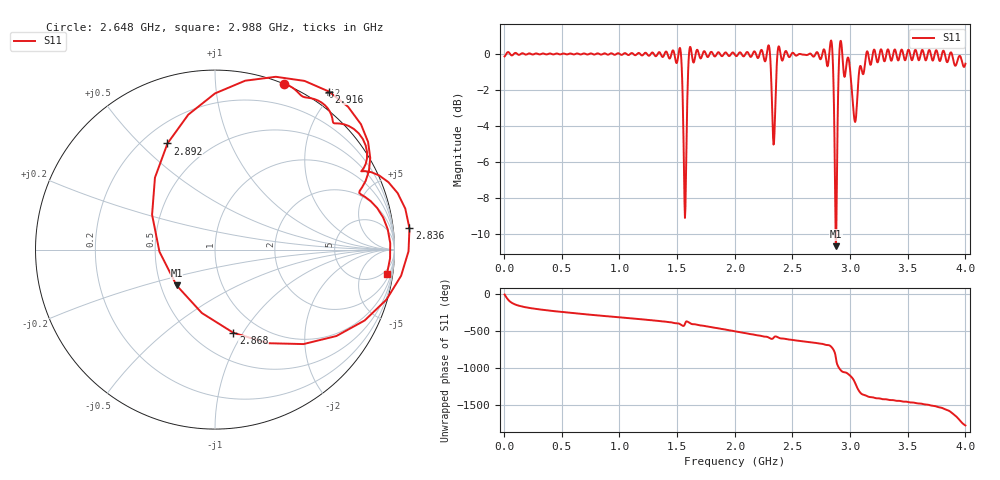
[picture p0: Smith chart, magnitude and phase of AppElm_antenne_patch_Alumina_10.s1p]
! TOUCHSTONE file generated by CST MICROWAVE STUDIO
! Date and time: Thu Jun  9 14:52:41 2022
! Project name: AppElm_antenne_patch_Alumina.cst
! Parameters = {L=30.5; W=41.8; e=0.035; h=1.6; lambda=0.190476; ls=90; w0=1.12; w1=0.373; ws=90; y0=16.8; y1=10}
! Header version: 2018
! Port assignment regex: !\s*Touchstone port\s*([0-9]+)\s*=\s*(CST MWS port|CST DS port)\s*([0-9]+|Zmin|Zmax)\s*\(\"(.*)\"\)(\s*mode\s*([0-9]+))?.*
! Touchstone port assignment:
! Touchstone port 1 = CST MWS port 1 ("")
# GHz S MA R 50
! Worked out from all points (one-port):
!   1000 points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, 4 MHz to 4 GHz, reference 50 ohm
!   lowest |S11| = -10.7 dB at 2.876 GHz (marker M1), VSWR 1.83, Z = 30.2 - j13.1 ohm
!   |S11| at or under -10 dB: 2.874519 GHz to 2.880317 GHz (5.798 MHz wide, 0.202 % of centre)
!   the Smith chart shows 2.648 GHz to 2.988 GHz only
!   S11 on the Smith chart (normalised r, x): 2.648 GHz: -0.00, +1.50; 2.836 GHz: -9, +11; 2.868 GHz: 0.76, -0.91; 2.892 GHz: 0.30, +0.61; 2.916 GHz: -0.20, +1.94; 2.988 GHz: 3, -14
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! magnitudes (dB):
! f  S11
! 4 MHz  -0.1
! 504 MHz  0.0
! 1.004 GHz  0.0
! 1.504 GHz  -0.3
! 1.532 GHz  0.1
! 1.556 GHz  -5.0
! 1.568 GHz  -9.1
! 1.604 GHz  0.1
! 1.616 GHz  0.4
! 2.004 GHz  -0.1
! 2.292 GHz  0.5
! 2.336 GHz  -5.0
! 2.384 GHz  0.4
! 2.504 GHz  0.1
! 2.648 GHz  0.0
! 2.836 GHz  0.7
! 2.848 GHz  0.0
! 2.868 GHz  -6.5
! 2.876 GHz  -10.7
! 2.892 GHz  -3.8
! 2.916 GHz  0.7
! 2.988 GHz  -0.3
! 3.004 GHz  -1.2
! 3.04 GHz  -3.7
! 3.084 GHz  -0.7
! 3.148 GHz  0.1
! 3.504 GHz  0.2
! 4 GHz  -0.5
